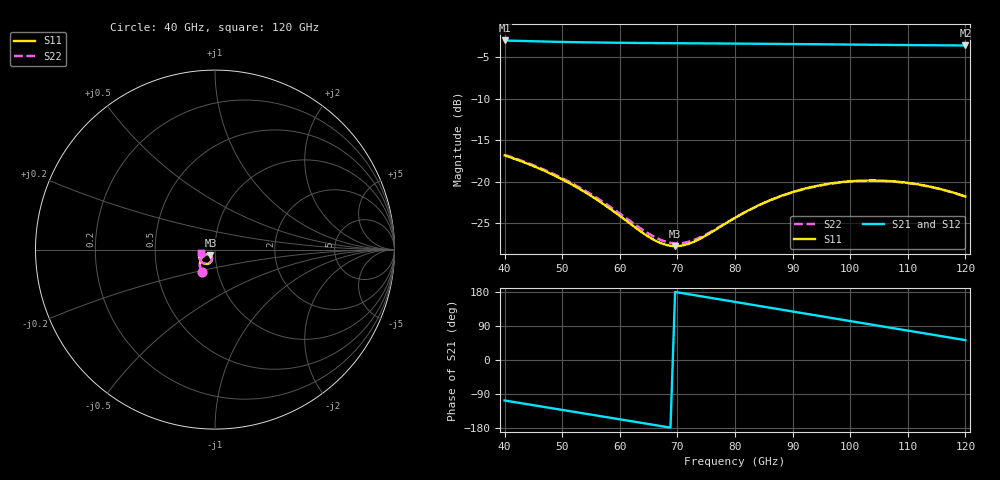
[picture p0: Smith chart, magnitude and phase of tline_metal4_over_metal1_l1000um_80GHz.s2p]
#  GHZ S DB R 50
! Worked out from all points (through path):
!   101 points, 40 GHz to 120 GHz, reference 50 ohm
!   highest |S21| = -3.00 dB at 40 GHz (marker M1); lowest = -3.6 dB at 120 GHz (marker M2)
!   group delay of S21, straight-line fit = 6.98 ps
!   lowest |S11| = -27.7 dB at 69.6 GHz (marker M3), VSWR 1.09, Z = 47.4 - j3.06 ohm
!   |S11| at or under -10 dB: start of sweep to end of sweep
!   |S22| runs from -27.4 to -16.8 dB; largest |S21 - S12| = 0
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40  -16.83 -120.3  -3.00 -106.8  -3.00 -106.8  -16.75 -120.2
46.4  -18.52 -135.1  -3.12 -122.8  -3.12 -122.8  -18.41 -135.0
53.6  -21.09 -147.8  -3.22 -140.6  -3.22 -140.6  -20.91 -147.6
57.6  -22.89 -151.4  -3.26 -150.6  -3.26 -150.6  -22.66 -151.3
60.8  -24.51 -151.3  -3.28 -158.5  -3.28 -158.5  -24.22 -151.4
64.8  -26.51 -145.2  -3.31 -168.5  -3.31 -168.5  -26.14 -146.0
67.2  -27.39 -137.7  -3.32 -174.5  -3.32 -174.5  -27.01 -139.2
69.6  -27.73 -128.3  -3.33 179.5  -3.33 179.5  -27.40 -130.5
71.2  -27.60 -122.1  -3.34 175.5  -3.34 175.5  -27.33 -124.6
73.6  -26.96 -114.3  -3.35 169.4  -3.35 169.4  -26.79 -117.0
76.8  -25.68 -108.2  -3.36 161.4  -3.36 161.4  -25.61 -110.7
80  -24.33 -106.5  -3.37 153.3  -3.37 153.3  -24.32 -108.6
86.4  -22.12 -110.8  -3.41 137.1  -3.41 137.1  -22.15 -112.4
90.4  -21.15 -116.2  -3.43 127.0  -3.43 127.0  -21.19 -117.6
93.6  -20.58 -121.4  -3.45 118.9  -3.45 118.9  -20.62 -122.6
97.6  -20.10 -128.4  -3.48 108.8  -3.48 108.8  -20.14 -129.4
100.8  -19.90 -134.1  -3.50 100.7  -3.50 100.7  -19.93 -135.1
104  -19.84 -140.0  -3.52 92.7  -3.52 92.7  -19.88 -140.8
107.2  -19.93 -145.7  -3.54 84.6  -3.54 84.6  -19.96 -146.5
110.4  -20.16 -151.4  -3.55 76.6  -3.55 76.6  -20.19 -152.1
113.6  -20.54 -156.7  -3.57 68.5  -3.57 68.5  -20.57 -157.4
120  -21.76 -165.9  -3.60 52.5  -3.60 52.5  -21.79 -166.5
